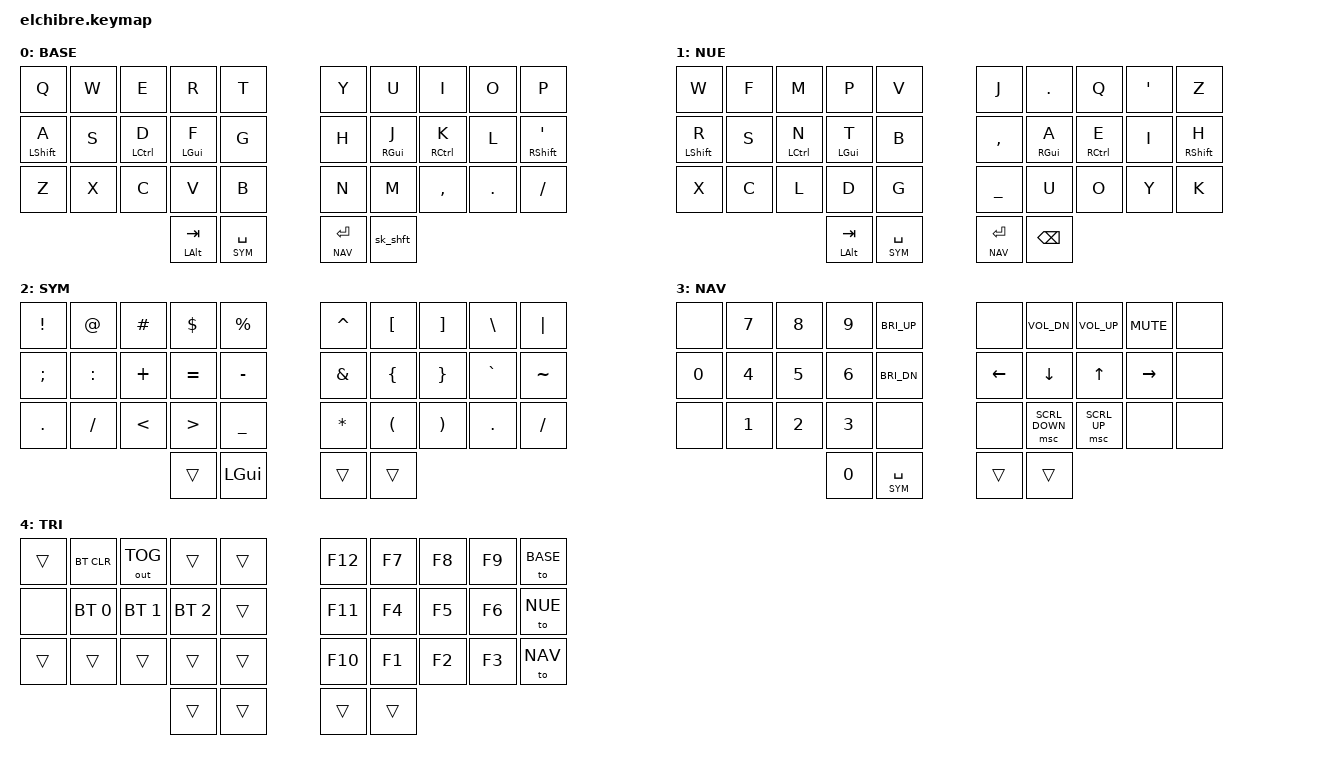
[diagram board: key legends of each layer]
#include "./helper_keypos_34keys.h"
#include <behaviors.dtsi>
#include <dt-bindings/zmk/bt.h>
#include <dt-bindings/zmk/keys.h>
#include <dt-bindings/zmk/outputs.h>

#define ZMK_POINTING_DEFAULT_SCRL_VAL 18 // default 10
#include <dt-bindings/zmk/pointing.h>

#define BASE 0
#define NUE  1
#define SYM  2
#define NAV  3
#define TRI  4

#define KEYS_L LT0 LT1 LT2 LT3 LT4 LM0 LM1 LM2 LM3 LM4 LB0 LB1 LB2 LB3 LB4
#define KEYS_R RT0 RT1 RT2 RT3 RT4 RM0 RM1 RM2 RM3 RM4 RB0 RB1 RB2 RB3 RB4
#define THUMBS LH1 LH0 RH0 RH1

&lt {
    tapping-term-ms = <150>;
};

&sk {
    release-after-ms = <900>;
    quick-release;
};

/ {
    behaviors {
        hml: home_row_mods_left {
            compatible = "zmk,behavior-hold-tap";
            #binding-cells = <2>;
            flavor = "balanced";
            tapping-term-ms = <280>;
            quick-tap-ms = <175>;
            require-prior-idle-ms = <125>;
            bindings = <&kp>, <&kp>;

            hold-trigger-key-positions = <KEYS_R THUMBS>;
            hold-trigger-on-release;
        };

        hmr: home_row_mods_right {
            compatible = "zmk,behavior-hold-tap";
            #binding-cells = <2>;
            flavor = "balanced";
            tapping-term-ms = <280>;
            quick-tap-ms = <175>;
            require-prior-idle-ms = <125>;
            bindings = <&kp>, <&kp>;

            hold-trigger-key-positions = <KEYS_L THUMBS>;
            hold-trigger-on-release;
        };

        // Shift on the pinky home key, tuned apart from hml/hmr.
        // Thumbs are excluded from the trigger list so word-final
        // "a"+space rolls can't read as shift (shift+space/enter go
        // through sk_shft), which is what lets prior-idle sit this
        // low: 50 masks only the fastest rolls, so a capital right
        // after space needs no deliberate pause. If roll misfires
        // return, raise prior-idle toward 85 before touching the term.
        // quick-tap is 120 (not 175) so a word ending in this letter
        // doesn't block an immediate same-pinky capital; fast double
        // letters (aa/rr) stay protected.
        hml_shft: home_row_mods_left_shift {
            compatible = "zmk,behavior-hold-tap";
            #binding-cells = <2>;
            flavor = "balanced";
            tapping-term-ms = <200>;
            quick-tap-ms = <120>;
            require-prior-idle-ms = <50>;
            bindings = <&kp>, <&kp>;

            hold-trigger-key-positions = <KEYS_R>;
            hold-trigger-on-release;
        };

        hmr_shft: home_row_mods_right_shift {
            compatible = "zmk,behavior-hold-tap";
            #binding-cells = <2>;
            flavor = "balanced";
            tapping-term-ms = <200>;
            quick-tap-ms = <120>;
            require-prior-idle-ms = <50>;
            bindings = <&kp>, <&kp>;

            hold-trigger-key-positions = <KEYS_L>;
            hold-trigger-on-release;
        };

        sk_shft: sticky_shift_caps_word {
            compatible = "zmk,behavior-mod-morph";
            #binding-cells = <0>;
            bindings = <&sk RSHIFT>, <&caps_word>;

            mods = <(MOD_LSFT | MOD_RSFT)>;
        };
    };

    combos {
        compatible = "zmk,combos";

        // 50ms comfortably covers a deliberate two-finger chord; the
        // prior-idle gate is what stops mid-word "we"/"io" rolls from
        // firing these, so the timeout doesn't need to be tight.
        combo_esc {
            timeout-ms = <50>;
            require-prior-idle-ms = <100>;
            key-positions = <LT3 LT2>;
            bindings = <&kp ESC>;
        };

        combo_bksp {
            timeout-ms = <50>;
            require-prior-idle-ms = <100>;
            key-positions = <RT3 RT2>;
            bindings = <&kp BSPC>;
        };

        combo_dongle_boot {
            timeout-ms = <75>;
            require-prior-idle-ms = <125>;
            key-positions = <LM3 LM2>;
            layers = <TRI>;
            bindings = <&bootloader>;
        };
    };

    conditional_layers {
        compatible = "zmk,conditional-layers";

        tri_layer {
            if-layers = <SYM NAV>;
            then-layer = <TRI>;
        };
    };

    keymap {
        compatible = "zmk,keymap";

        base_layer {
            label = "BASE";
            bindings = <
&kp Q               &kp W  &kp E         &kp R         &kp T       &kp Y     &kp U        &kp I         &kp O    &kp P
&hml_shft LSHIFT A  &kp S  &hml LCTRL D  &hml LGUI F   &kp G       &kp H     &hmr RGUI J  &hmr RCTRL K  &kp L    &hmr_shft RSHIFT SQT
&kp Z               &kp X  &kp C         &kp V         &kp B       &kp N     &kp M        &kp COMMA     &kp DOT  &kp FSLH
                        &hml LALT TAB   &lt SYM SPACE             &lt NAV RET  &sk_shft
            >;
        };

        hands_down_nue {
            label = "NUE";
            bindings = <
&kp W               &kp F  &kp M         &kp P         &kp V       &kp J      &kp DOT      &kp Q         &kp SQT  &kp Z
&hml_shft LSHIFT R  &kp S  &hml LCTRL N  &hml LGUI T   &kp B       &kp COMMA  &hmr RGUI A  &hmr RCTRL E  &kp I    &hmr_shft RSHIFT H
&kp X               &kp C  &kp L         &kp D         &kp G       &kp UNDER  &kp U        &kp O         &kp Y    &kp K
                     &hml LALT TAB    &lt SYM SPACE                  &lt NAV RET  &kp BSPC
            >;
        };

        sym_layer {
            label = "SYM";
            bindings = <
&kp EXCL  &kp AT     &kp HASH  &kp DLLR   &kp PRCNT     &kp CARET  &kp LBKT  &kp RBKT  &kp BSLH   &kp PIPE
&kp SEMI  &kp COLON  &kp PLUS  &kp EQUAL  &kp MINUS     &kp AMPS   &kp LBRC  &kp RBRC  &kp GRAVE  &kp TILDE
&kp DOT   &kp FSLH   &kp LT    &kp GT     &kp UNDER     &kp STAR   &kp LPAR  &kp RPAR  &kp DOT    &kp FSLH
                     &trans    &kp LGUI                 &trans     &trans
            >;
        };

        nav_layer {
            label = "NAV";
            bindings = <
&none   &kp N7  &kp N8  &kp N9  &kp C_BRI_UP    &none     &kp C_VOL_DN    &kp C_VOL_UP  &kp C_MUTE  &none
&kp N0  &kp N4  &kp N5  &kp N6  &kp C_BRI_DN    &kp LEFT  &kp DOWN        &kp UP        &kp RIGHT   &none
&none   &kp N1  &kp N2  &kp N3  &none           &none     &msc SCRL_DOWN  &msc SCRL_UP  &none       &none
                &kp N0  &lt SYM SPACE           &trans    &trans
            >;
        };

        adjust_layer {
            label = "TRI";
            bindings = <
&trans   &bt BT_CLR    &out OUT_TOG  &trans        &trans     &kp F12  &kp F7  &kp F8  &kp F9  &to BASE
&none    &bt BT_SEL 0  &bt BT_SEL 1  &bt BT_SEL 2  &trans     &kp F11  &kp F4  &kp F5  &kp F6  &to NUE
&trans   &trans        &trans        &trans        &trans     &kp F10  &kp F1  &kp F2  &kp F3  &to NAV
                       &trans        &trans                   &trans   &trans
            >;
        };
    };
};
